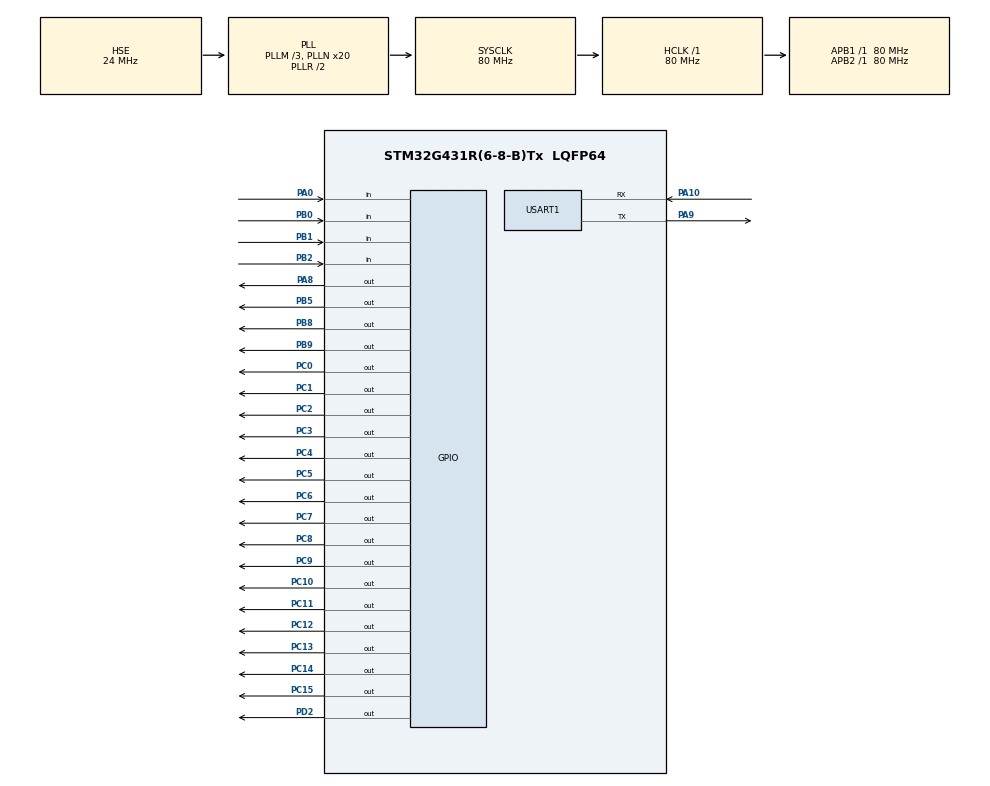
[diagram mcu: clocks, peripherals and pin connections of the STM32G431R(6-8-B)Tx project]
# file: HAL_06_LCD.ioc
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Mcu.Family=STM32G4
RCC.CortexFreq_Value=80000000
Dma.USART1_RX.0.EventEnable=DISABLE
PC10.Signal=GPIO_Output
PC12.Signal=GPIO_Output
Dma.USART1_RX.0.SignalID=NONE
RCC.SYSCLKSource=RCC_SYSCLKSOURCE_PLLCLK
ProjectManager.StackSize=0x400
PB1.GPIO_PuPd=GPIO_NOPULL
RCC.HCLKFreq_Value=80000000
RCC.APB2TimFreq_Value=80000000
PC7.Signal=GPIO_Output
PC3.Signal=GPIO_Output
RCC.AHBFreq_Value=80000000
Dma.USART1_RX.0.Priority=DMA_PRIORITY_LOW
RCC.HSE_VALUE=24000000
PB2.Signal=GPIO_Input
RCC.ADC12Freq_Value=80000000
PA14.Mode=Serial_Wire
Dma.USART1_RX.0.SyncEnable=DISABLE
VP_SYS_VS_DBSignals.Mode=DisableDeadBatterySignals
PA8.Signal=GPIO_Output
Dma.USART1_RX.0.MemInc=DMA_MINC_ENABLE
PB2.GPIO_PuPd=GPIO_NOPULL
PA0.Signal=GPIO_Input
Mcu.Package=LQFP64
PB9.Signal=GPIO_Output
PB1.Signal=GPIO_Input
PB0.GPIO_Mode=GPIO_MODE_INPUT
PA0.GPIO_PuPd=GPIO_NOPULL
PA10.Signal=USART1_RX
RCC.APB1TimFreq_Value=80000000
Dma.USART1_RX.0.Mode=DMA_CIRCULAR
PC5.Signal=GPIO_Output
NVIC.USART1_IRQn=true\:0\:0\:false\:false\:true\:true\:true
PF1-OSC_OUT.Mode=HSE-External-Oscillator
Dma.Request0=USART1_RX
Dma.USART1_RX.0.Instance=DMA1_Channel1
PF1-OSC_OUT.Signal=RCC_OSC_OUT
RCC.HSI48_VALUE=48000000
RCC.PLLSourceVirtual=RCC_PLLSOURCE_HSE
TIM4.AutoReloadPreload=TIM_AUTORELOAD_PRELOAD_ENABLE
Dma.USART1_RX.0.PeriphDataAlignment=DMA_PDATAALIGN_BYTE
PA10.Mode=Asynchronous
PC11.Signal=GPIO_Output
PC13.Signal=GPIO_Output
TIM4.PeriodNoDither=1000 - 1
PC8.Signal=GPIO_Output
PC4.Signal=GPIO_Output
PC2.Signal=GPIO_Output
PC6.Signal=GPIO_Output
PA0.GPIO_Mode=GPIO_MODE_INPUT
RCC.EXTERNAL_CLOCK_VALUE=12288000
PC0.Signal=GPIO_Output
PC14-OSC32_IN.Signal=GPIO_Output
Dma.USART1_RX.0.RequestNumber=1
Dma.USART1_RX.0.Polarity=HAL_DMAMUX_REQ_GEN_RISING
USART1.VirtualMode-Asynchronous=VM_ASYNC
PA13.Signal=SYS_JTMS-SWDIO
PA9.Mode=Asynchronous
ProjectManager.TargetToolchain=MDK-ARM V5.27
Dma.USART1_RX.0.SyncRequestNumber=1
Dma.USART1_RX.0.Direction=DMA_PERIPH_TO_MEMORY
PB1.GPIO_Mode=GPIO_MODE_INPUT
PA9.Signal=USART1_TX
RCC.USBFreq_Value=80000000
TIM4.Prescaler=80 - 1
RCC.LSE_VALUE=32768
PC15-OSC32_OUT.Signal=GPIO_Output
Dma.USART1_RX.0.PeriphInc=DMA_PINC_DISABLE
PF0-OSC_IN.Mode=HSE-External-Oscillator
PB8-BOOT0.Signal=GPIO_Output
board=custom
RCC.VCOOutputFreq_Value=160000000
RCC.APB2Freq_Value=80000000
PB2.GPIO_Mode=GPIO_MODE_INPUT
Dma.USART1_RX.0.MemDataAlignment=DMA_MDATAALIGN_BYTE
Dma.USART1_RX.0.SyncPolarity=HAL_DMAMUX_SYNC_NO_EVENT
PA13.Mode=Serial_Wire
Mcu.Name=STM32G431R(6-8-B)Tx
Dma.USART1_RX.0.SyncSignalID=NONE
RCC.SYSCLKFreq_VALUE=80000000
PB5.Signal=GPIO_Output
PA14.Signal=SYS_JTCK-SWCLK
ProjectManager.HeapSize=0x200
RCC.HSI_VALUE=16000000
VP_TIM4_VS_ClockSourceINT.Mode=Internal
NVIC.PriorityGroup=NVIC_PRIORITYGROUP_4
RCC.PLLM=RCC_PLLM_DIV3
RCC.PLLN=20
PC9.Signal=GPIO_Output
PF0-OSC_IN.Signal=RCC_OSC_IN
PD2.Signal=GPIO_Output
NVIC.TIM4_IRQn=true\:0\:0\:false\:false\:true\:true\:true
RCC.APB1Freq_Value=80000000
PB0.Signal=GPIO_Input
PC1.Signal=GPIO_Output
PB0.GPIO_PuPd=GPIO_NOPULL

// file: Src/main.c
/* USER CODE BEGIN Header */
/**
  ******************************************************************************
  * @file           : main.c
  * @brief          : Main program body
  ******************************************************************************
  * @attention
  *
  * <h2><center>&copy; Copyright (c) 2021 STMicroelectronics.
  * All rights reserved.</center></h2>
  *
  * This software component is licensed by ST under BSD 3-Clause license,
  * the "License"; You may not use this file except in compliance with the
  * License. You may obtain a copy of the License at:
  *                        opensource.org/licenses/BSD-3-Clause
  *
  ******************************************************************************
  */
/* USER CODE END Header */

#include "main.h"
#include "dma.h"
#include "tim.h"
#include "usart.h"
#include "gpio.h"

/* USER CODE BEGIN PV */
uint16_t led_tick = 0;
_Bool led_flag = 0;

uint8_t key_tick = 0;

uint8_t RxData;
uint8_t RxBuffer[100];
uint8_t RxCounter = 0;
_Bool RxFlag = 0;
/* USER CODE END PV */

void SystemClock_Config(void);
/* USER CODE BEGIN PFP */
void led_proc(void);
void key_scan(void);
void usart_proc(void);
void USER_UART_IdleCallback(UART_HandleTypeDef *huart);
/* USER CODE END PFP */

int main(void)
{

  /* MCU Configuration--------------------------------------------------------*/

  /* Reset of all peripherals, Initializes the Flash interface and the Systick. */
  HAL_Init();

  /* Configure the system clock */
  SystemClock_Config();

  /* Initialize all configured peripherals */
  MX_GPIO_Init();
  MX_DMA_Init();
  MX_TIM4_Init();
  MX_USART1_UART_Init();
  /* USER CODE BEGIN 2 */

	LCD_Init();

	led_init();

	HAL_TIM_Base_Start_IT(&htim4);

	HAL_UART_Receive_DMA(&huart1,RxBuffer,100);
	__HAL_UART_ENABLE_IT(&huart1,UART_IT_IDLE);						// 使能串口的空闲中断
	__HAL_UART_CLEAR_IDLEFLAG(&huart1);										// 清除串口的空闲中断，上电就会自动产生一个空闲中断，所以在这里先清除一下。

  /* USER CODE END 2 */

  /* Infinite loop */
  /* USER CODE BEGIN WHILE */

	LCD_Clear(Blue);
	LCD_SetBackColor(Blue);
	LCD_SetTextColor(White);

	LCD_DisplayStringLine(Line0, (uint8_t *)"                    ");
	LCD_DisplayStringLine(Line1, (uint8_t *)"                    ");
	LCD_DisplayStringLine(Line2, (uint8_t *)"      LCD Test      ");
	LCD_DisplayStringLine(Line3, (uint8_t *)"                    ");
	LCD_DisplayStringLine(Line4, (uint8_t *)"                    ");

	LCD_SetBackColor(White);
	LCD_SetTextColor(Blue);

	LCD_DisplayStringLine(Line5, (uint8_t *)"                    ");
	LCD_DisplayStringLine(Line6, (uint8_t *)"       HAL LIB      ");
	LCD_DisplayStringLine(Line7, (uint8_t *)"                    ");
	LCD_DisplayStringLine(Line8, (uint8_t *)"         @80        ");
	LCD_DisplayStringLine(Line9, (uint8_t *)"                    ");

  while (1)
  {
    /* USER CODE END WHILE */

    /* USER CODE BEGIN 3 */
		led_proc();
		usart_proc();
  }
  /* USER CODE END 3 */
}

void SystemClock_Config(void)
{
  RCC_OscInitTypeDef RCC_OscInitStruct = {0};
  RCC_ClkInitTypeDef RCC_ClkInitStruct = {0};
  RCC_PeriphCLKInitTypeDef PeriphClkInit = {0};

  /** Configure the main internal regulator output voltage
  */
  HAL_PWREx_ControlVoltageScaling(PWR_REGULATOR_VOLTAGE_SCALE1);
  /** Initializes the CPU, AHB and APB busses clocks
  */
  RCC_OscInitStruct.OscillatorType = RCC_OSCILLATORTYPE_HSE;
  RCC_OscInitStruct.HSEState = RCC_HSE_ON;
  RCC_OscInitStruct.PLL.PLLState = RCC_PLL_ON;
  RCC_OscInitStruct.PLL.PLLSource = RCC_PLLSOURCE_HSE;
  RCC_OscInitStruct.PLL.PLLM = RCC_PLLM_DIV3;
  RCC_OscInitStruct.PLL.PLLN = 20;
  RCC_OscInitStruct.PLL.PLLP = RCC_PLLP_DIV2;
  RCC_OscInitStruct.PLL.PLLQ = RCC_PLLQ_DIV2;
  RCC_OscInitStruct.PLL.PLLR = RCC_PLLR_DIV2;
  if (HAL_RCC_OscConfig(&RCC_OscInitStruct) != HAL_OK)
  {
    Error_Handler();
  }
  /** Initializes the CPU, AHB and APB busses clocks
  */
  RCC_ClkInitStruct.ClockType = RCC_CLOCKTYPE_HCLK|RCC_CLOCKTYPE_SYSCLK
                              |RCC_CLOCKTYPE_PCLK1|RCC_CLOCKTYPE_PCLK2;
  RCC_ClkInitStruct.SYSCLKSource = RCC_SYSCLKSOURCE_PLLCLK;
  RCC_ClkInitStruct.AHBCLKDivider = RCC_SYSCLK_DIV1;
  RCC_ClkInitStruct.APB1CLKDivider = RCC_HCLK_DIV1;
  RCC_ClkInitStruct.APB2CLKDivider = RCC_HCLK_DIV1;

  if (HAL_RCC_ClockConfig(&RCC_ClkInitStruct, FLASH_LATENCY_3) != HAL_OK)
  {
    Error_Handler();
  }
  /** Initializes the peripherals clocks
  */
  PeriphClkInit.PeriphClockSelection = RCC_PERIPHCLK_USART1;
  PeriphClkInit.Usart1ClockSelection = RCC_USART1CLKSOURCE_PCLK2;
  if (HAL_RCCEx_PeriphCLKConfig(&PeriphClkInit) != HAL_OK)
  {
    Error_Handler();
  }
}

/* USER CODE BEGIN 4 */
void key_scan(void)
{
	key_refresh();
	if(key_falling == B1)
	{
		led_toggle(LD5);
	}
	else if(key_falling == B2)
	{
		led_toggle(LD6);
	}
	else if(key_falling == B3)
	{
		led_toggle(LD7);
	}
	else if(key_falling == B4)
	{
		led_toggle(LD8);
	}
}

void led_proc(void)
{
	if(led_flag)
	{
		led_flag = 0;
		led_toggle(LD1);
	}
}

void usart_proc(void)
{
	if(RxFlag)
	{
		RxFlag = 0;
		printf("%s\r\n",RxBuffer);
		RxCounter = 0;
		memset(RxBuffer,0,sizeof(RxBuffer));
		HAL_UART_DMAStop(&huart1);											// 先将DMA停止
		HAL_UART_Receive_DMA(&huart1,RxBuffer,100);			// 然后再打开UART的DMA接收中断，如果不停止，那么只能接收到一次数据
	}
}

void HAL_TIM_PeriodElapsedCallback(TIM_HandleTypeDef *htim)
{
	if(htim->Instance == TIM4)
	{
		if(++led_tick == 1000)
		{
			led_tick = 0;
			led_flag = 1;
		}
		if(++key_tick == 10)
		{
			key_tick = 0;
			key_scan();
		}
	}
}

int fputc(int ch, FILE * f)
{
	HAL_UART_Transmit(&huart1,(uint8_t*)&ch,1,0xFF);
	return ch;
}

void USER_UART_IdleCallback(UART_HandleTypeDef *huart)
{
	if(huart->Instance == USART1)
	{
		if(__HAL_UART_GET_FLAG(huart,UART_FLAG_IDLE) != RESET)
		{
//			USART1->ISR; 			 // 清除状态寄存器SR,读取SR寄存器可以实现清除SR寄存器的功能,这一句不是必要，因为在进入中断的时候已经清除了
//			USART1->RDR; 			 // 读取数据寄存器中的数据
// 经测试，上面的这两句话都可以不用，而在STM32F103中是必须要有的
			__HAL_UART_CLEAR_IDLEFLAG(huart);				// 必须要这句话，清除串口空闲中断
			RxFlag = 1;
		}
	}
}
/* USER CODE END 4 */

void Error_Handler(void)
{
}

/************************ (C) COPYRIGHT STMicroelectronics *****END OF FILE****/
